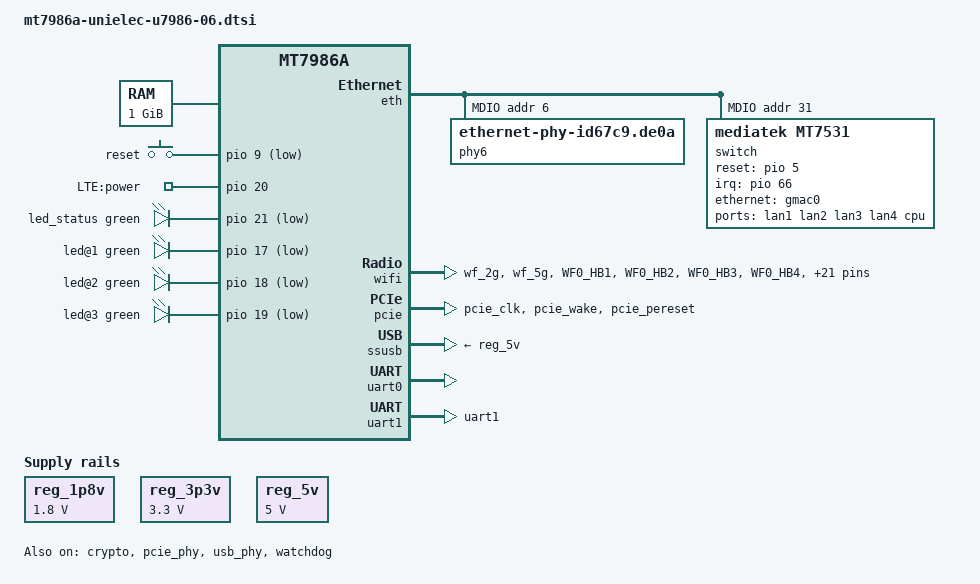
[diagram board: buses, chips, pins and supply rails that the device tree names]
// SPDX-License-Identifier: (GPL-2.0 OR MIT)

#include <dt-bindings/input/input.h>
#include <dt-bindings/gpio/gpio.h>
#include <dt-bindings/leds/common.h>
#include <dt-bindings/pinctrl/mt65xx.h>

#include "mt7986a.dtsi"

/ {
	aliases {
		serial0 = &uart0;
		label-mac-device = &gmac0;

		led-boot = &led_status;
		led-failsafe = &led_status;
		led-running = &led_status;
		led-upgrade = &led_status;
	};

	chosen {
		stdout-path = "serial0:115200n8";
	};

	memory@40000000 {
		reg = <0 0x40000000 0 0x40000000>;
		device_type = "memory";
	};

	gpio-keys {
		compatible = "gpio-keys";

		button-reset {
			label = "reset";
			linux,code = <KEY_RESTART>;
			gpios = <&pio 9 GPIO_ACTIVE_LOW>;
		};
	};

	gpio-export {
		compatible = "gpio-export";

		out {
			gpio-export,name = "LTE:power";
			gpio-export,output = <1>;
			gpios = <&pio 20 GPIO_ACTIVE_HIGH>;
		};
	};

	leds {
		compatible = "gpio-leds";

		led_status: led@0 {
			color = <LED_COLOR_ID_GREEN>;
			function = LED_FUNCTION_STATUS;
			gpios = <&pio 21 GPIO_ACTIVE_LOW>;
		};

		led@1 {
			color = <LED_COLOR_ID_GREEN>;
			function = LED_FUNCTION_INDICATOR;
			function-enumerator = <0>;
			gpios = <&pio 17 GPIO_ACTIVE_LOW>;
		};

		led@2 {
			color = <LED_COLOR_ID_GREEN>;
			function = LED_FUNCTION_INDICATOR;
			function-enumerator = <1>;
			gpios = <&pio 18 GPIO_ACTIVE_LOW>;
		};

		led@3 {
			color = <LED_COLOR_ID_GREEN>;
			function = LED_FUNCTION_MOBILE;
			gpios = <&pio 19 GPIO_ACTIVE_LOW>;
		};
	};

	reg_1p8v: regulator-1p8v {
		compatible = "regulator-fixed";
		regulator-name = "fixed-1.8V";
		regulator-min-microvolt = <1800000>;
		regulator-max-microvolt = <1800000>;
		regulator-boot-on;
		regulator-always-on;
	};

	reg_3p3v: regulator-3p3v {
		compatible = "regulator-fixed";
		regulator-name = "fixed-3.3V";
		regulator-min-microvolt = <3300000>;
		regulator-max-microvolt = <3300000>;
		regulator-boot-on;
		regulator-always-on;
	};

	reg_5v: regulator-5v {
		compatible = "regulator-fixed";
		regulator-name = "fixed-5V";
		regulator-min-microvolt = <5000000>;
		regulator-max-microvolt = <5000000>;
		regulator-boot-on;
		regulator-always-on;
	};
};

&eth {
	status = "okay";

	gmac0: mac@1 {
		compatible = "mediatek,eth-mac";
		reg = <1>;
		phy-mode = "2500base-x";

		fixed-link {
			speed = <2500>;
			full-duplex;
			pause;
		};
	};

	gmac1: mac@0 {
		compatible = "mediatek,eth-mac";
		reg = <0>;
		phy-handle = <&phy6>;
		phy-mode = "2500base-x";
	};

	mdio: mdio-bus {
		#address-cells = <1>;
		#size-cells = <0>;

		/*
		 * GPIO pio 6 is NOT a per-PHY reset - it enables the power
		 * domain shared by the 2.5G PHY. It must be toggled BEFORE the
		 * PHY is probed, so it lives on the mdio-bus node (mdio reset),
		 * using reset-delay-us / reset-post-delay-us (the bus-level
		 * property names). Without this the GPY211 never boots its
		 * firmware and reports "0.0 test version", and the MAC cannot
		 * attach (eth0: could not attach PHY: -22).
		 */
		reset-gpios = <&pio 6 GPIO_ACTIVE_LOW>;
		reset-delay-us = <50000>;
		reset-post-delay-us = <20000>;

		/*
		 * 2.5G WAN PHY: MaxLinear GPY211C (phy_id 0x67c9de0a) at the
		 * functional management address 6 (where U-Boot loads firmware
		 * 8.111). mxl-gpy is built into the filogic kernel - no kmod.
		 */
		phy6: phy@6 {
			compatible = "ethernet-phy-id67c9.de0a";
			reg = <6>;
			phy-mode = "2500base-x";

			leds {
				#address-cells = <1>;
				#size-cells = <0>;

				/*
				 * GPY211 has up to 4 LED pins (reg 0..3). Without
				 * the schematic, reg = <0> is the starting guess
				 * for the front-panel WAN LED - if the wrong one
				 * lights, try reg = <1>/<2>/<3> (or add more led@N
				 * nodes and test which maps to the WAN light).
				 * GPY211 LEDs are commonly wired inverted (the pin
				 * drives VDD, not GND); if the LED is lit when it
				 * should be off, add  active-low;  to this node.
				 */
				led@0 {
					reg = <0>;
					color = <LED_COLOR_ID_GREEN>;
					function = LED_FUNCTION_WAN;
				};
			};
		};


		switch@1f {
			compatible = "mediatek,mt7531";
			reg = <31>;
			reset-gpios = <&pio 5 GPIO_ACTIVE_HIGH>;
			interrupt-controller;
			#interrupt-cells = <1>;
			interrupt-parent = <&pio>;
			interrupts = <66 IRQ_TYPE_LEVEL_HIGH>;

			ports {
				#address-cells = <1>;
				#size-cells = <0>;

				port@0 {
					reg = <0>;
					label = "lan1";
				};

				port@1 {
					reg = <1>;
					label = "lan2";
				};

				port@3 {
					reg = <3>;
					label = "lan3";
				};

				port@4 {
					reg = <4>;
					label = "lan4";
				};

				port@6 {
					reg = <6>;
					label = "cpu";
					ethernet = <&gmac0>;
					phy-mode = "2500base-x";

					fixed-link {
						speed = <2500>;
						full-duplex;
						pause;
					};
				};
			};
		};
	};
};

&wifi {
	pinctrl-names = "default";
	pinctrl-0 = <&wf_2g_5g_pins>;
	status = "okay";
	led {
		led-active-low;
	};
};

&crypto {
	status = "okay";
};

&pcie {
	pinctrl-names = "default";
	pinctrl-0 = <&pcie_pins>;
	status = "okay";
};

&pcie_phy {
	status = "okay";
};

&pio {
	mmc0_pins_default: mmc0-pins {
		mux {
			function = "emmc";
			groups = "emmc_51";
		};
		conf-cmd-dat {
			pins = "EMMC_DATA_0", "EMMC_DATA_1", "EMMC_DATA_2",
			       "EMMC_DATA_3", "EMMC_DATA_4", "EMMC_DATA_5",
			       "EMMC_DATA_6", "EMMC_DATA_7", "EMMC_CMD";
			input-enable;
			drive-strength = <MTK_DRIVE_4mA>;
			bias-pull-up = <MTK_PUPD_SET_R1R0_01>;	/* pull-up 10K */
		};
		conf-clk {
			pins = "EMMC_CK";
			drive-strength = <MTK_DRIVE_6mA>;
			bias-pull-down = <MTK_PUPD_SET_R1R0_10>;	/* pull-down 50K */
		};
		conf-ds {
			pins = "EMMC_DSL";
			bias-pull-down = <MTK_PUPD_SET_R1R0_10>;	/* pull-down 50K */
		};
		conf-rst {
			pins = "EMMC_RSTB";
			drive-strength = <MTK_DRIVE_4mA>;
			bias-pull-up = <MTK_PUPD_SET_R1R0_01>;	/* pull-up 10K */
		};
	};

	mmc0_pins_uhs: mmc0-uhs-pins {
		mux {
			function = "emmc";
			groups = "emmc_51";
		};
		conf-cmd-dat {
			pins = "EMMC_DATA_0", "EMMC_DATA_1", "EMMC_DATA_2",
			       "EMMC_DATA_3", "EMMC_DATA_4", "EMMC_DATA_5",
			       "EMMC_DATA_6", "EMMC_DATA_7", "EMMC_CMD";
			input-enable;
			drive-strength = <MTK_DRIVE_4mA>;
			bias-pull-up = <MTK_PUPD_SET_R1R0_01>;	/* pull-up 10K */
		};
		conf-clk {
			pins = "EMMC_CK";
			drive-strength = <MTK_DRIVE_6mA>;
			bias-pull-down = <MTK_PUPD_SET_R1R0_10>;	/* pull-down 50K */
		};
		conf-ds {
			pins = "EMMC_DSL";
			bias-pull-down = <MTK_PUPD_SET_R1R0_10>;	/* pull-down 50K */
		};
		conf-rst {
			pins = "EMMC_RSTB";
			drive-strength = <MTK_DRIVE_4mA>;
			bias-pull-up = <MTK_PUPD_SET_R1R0_01>;	/* pull-up 10K */
		};
	};

	pcie_pins: pcie-pins {
		mux {
			function = "pcie";
			groups = "pcie_clk", "pcie_wake", "pcie_pereset";
		};
	};

	spi_flash_pins: spi-flash-pins-33-to-38 {
		mux {
			function = "spi";
			groups = "spi0", "spi0_wp_hold";
		};
		conf-pu {
			pins = "SPI2_CS", "SPI2_HOLD", "SPI2_WP";
			drive-strength = <MTK_DRIVE_4mA>;
			bias-disable;	/* bias-disable */
		};
		conf-pd {
			pins = "SPI2_CLK", "SPI2_MOSI", "SPI2_MISO";
			drive-strength = <MTK_DRIVE_4mA>;
			bias-disable;	/* bias-disable */
		};
	};

	uart1_pins: uart1-pins {
		mux {
			function = "uart";
			groups = "uart1";
		};
	};

	wf_2g_5g_pins: wf_2g_5g-pins {
		mux {
			function = "wifi";
			groups = "wf_2g", "wf_5g";
		};
		conf {
			pins = "WF0_HB1", "WF0_HB2", "WF0_HB3", "WF0_HB4",
			       "WF0_HB0", "WF0_HB0_B", "WF0_HB5", "WF0_HB6",
			       "WF0_HB7", "WF0_HB8", "WF0_HB9", "WF0_HB10",
			       "WF0_TOP_CLK", "WF0_TOP_DATA", "WF1_HB1",
			       "WF1_HB2", "WF1_HB3", "WF1_HB4", "WF1_HB0",
			       "WF1_HB5", "WF1_HB6", "WF1_HB7", "WF1_HB8",
			       "WF1_TOP_CLK", "WF1_TOP_DATA";
			drive-strength = <MTK_DRIVE_4mA>;
		};
	};
};

&ssusb {
	vusb33-supply = <&reg_3p3v>;
	vbus-supply = <&reg_5v>;
	status = "okay";
};

&uart0 {
	status = "okay";
};

&uart1 {
	pinctrl-names = "default";
	pinctrl-0 = <&uart1_pins>;
	status = "okay";
};

&usb_phy {
	status = "okay";
};

&watchdog {
	status = "okay";
};
